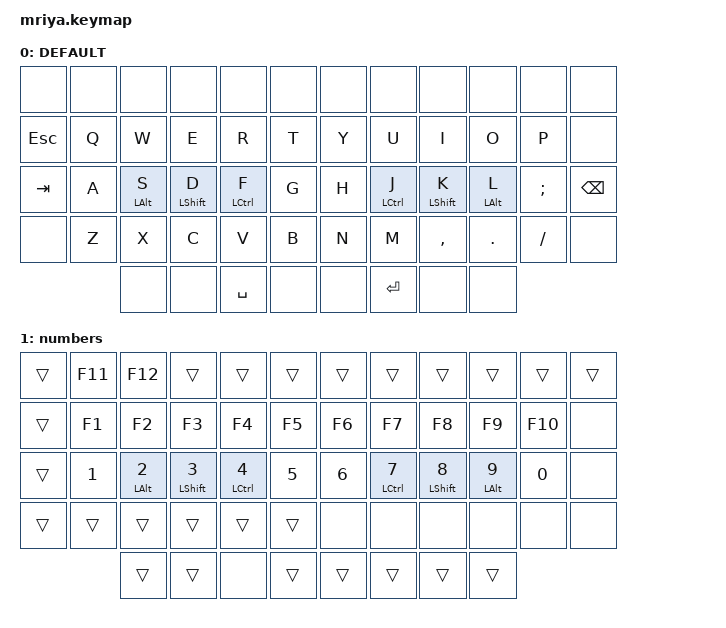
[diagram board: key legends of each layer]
/*
 * Copyright (c) 2023 Andrei Gaevskii
 *
 * SPDX-License-Identifier: MIT
 */

#include <behaviors.dtsi>
#include <dt-bindings/zmk/keys.h>

#define DEF 0
#define LWR 1
#define RSE 2
#define ADJ 3

&lt { quick_tap_ms = <200>; };

&mt { quick_tap_ms = <200>; };

/ {
    combos {
        compatible = "zmk,combos";

        toFn {
            bindings = <&to 0>;
            key-positions = <49 54>;
        };
    };

    keymap {
        compatible = "zmk,keymap";

        DEFAULT {
            bindings = <
  &none       &none  &none           &none             &none               &none    &none  &none               &none             &none           &none          &none
  &kp ESCAPE  &kp Q  &kp W           &kp E             &kp R               &kp T    &kp Y  &kp U               &kp I             &kp O           &kp P          &none
  &kp TAB     &kp A  &mt LEFT_ALT S  &mt LEFT_SHIFT D  &mt LEFT_CONTROL F  &kp G    &kp H  &mt LEFT_CONTROL J  &mt LEFT_SHIFT K  &mt LEFT_ALT L  &kp SEMICOLON  &kp BACKSPACE
  &none       &kp Z  &kp X           &kp C             &kp V               &kp B    &kp N  &kp M               &kp COMMA         &kp PERIOD      &kp SLASH      &none
                     &none           &none             &kp SPACE           &none    &none  &kp ENTER           &none             &none
            >;
        };

        numbers {
            bindings = <
  &trans  &kp F11  &kp F12          &trans             &trans               &trans    &trans  &trans               &trans             &trans           &trans   &trans
  &trans  &kp F1   &kp F2           &kp F3             &kp F4               &kp F5    &kp F6  &kp F7               &kp F8             &kp F9           &kp F10  &none
  &trans  &kp N1   &mt LEFT_ALT N2  &mt LEFT_SHIFT N3  &mt LEFT_CONTROL N4  &kp N5    &kp N6  &mt LEFT_CONTROL N7  &mt LEFT_SHIFT N8  &mt LEFT_ALT N9  &kp N0   &none
  &trans  &trans   &trans           &trans             &trans               &trans    &none   &none                &none              &none            &none    &none
                   &trans           &trans             &none                &trans    &trans  &trans               &trans             &trans
            >;
        };
    };
};
